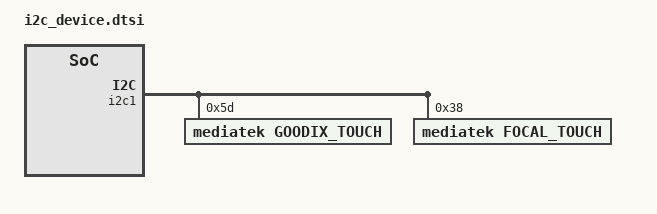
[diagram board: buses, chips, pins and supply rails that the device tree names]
/*

 */

/*************************
 * I2C dtsi file
*************************/
&i2c1 {
	goodix_touch@5D {
		compatible = "mediatek,goodix_touch";
		reg = <0x5D>;
	};

	focal_touch@38 {
		compatible = "mediatek,focal_touch";
		reg = <0x38>;		
	};
};

